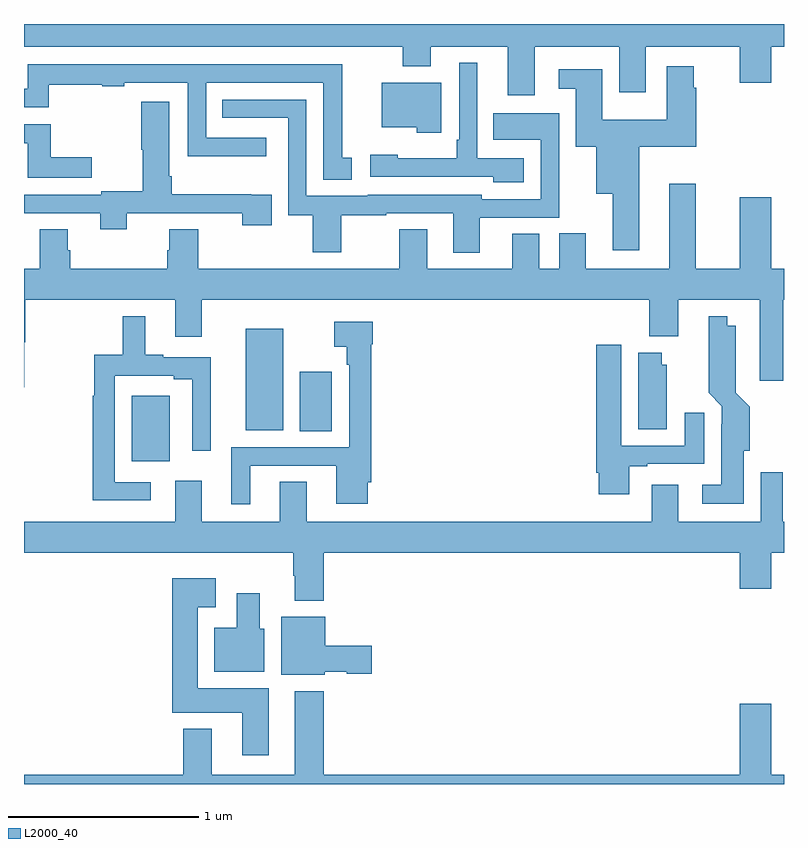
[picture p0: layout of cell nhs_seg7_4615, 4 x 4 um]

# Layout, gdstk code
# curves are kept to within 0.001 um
import gdstk
lib = gdstk.Library(unit=1e-6, precision=1e-09)
def R(c, l, rs):  # rectangles x0, y0, x1, y1
    for r in rs: c.add(gdstk.rectangle(r[:2], r[2:], *l))
def P(c, l, *ps):  # polygons
    for p in ps: c.add(gdstk.Polygon(p, *l))
L2000_40 = (2000, 40)

nhs_seg7_4615 = lib.new_cell('nhs_seg7_4615')
R(nhs_seg7_4615, L2000_40, [(401.567,1067.699,401.767,1068.043), (402.452,1067.857,402.619,1068.169), (402.167,1067.861,402.364,1068.397)])
P(nhs_seg7_4615, L2000_40, [(403.687,1069.88),(404.132,1069.88),(404.132,1069.641),(404.272,1069.641),(404.272,1069.88),(404.768,1069.88),(404.768,1069.692),(404.932,1069.692),(404.932,1069.88),(405,1069.88),(405,1070),(401,1070),(401,1069.88),(402.994,1069.88),(402.994,1069.778),(403.141,1069.778),(403.141,1069.88),(403.547,1069.88),(403.547,1069.626),(403.687,1069.626)],
  [(403.63,1069.293),(403.386,1069.293),(403.386,1069.795),(403.29,1069.795),(403.29,1069.39),(403.278,1069.39),(403.278,1069.294),(402.966,1069.294),(402.966,1069.312),(402.822,1069.312),(402.822,1069.197),(403.469,1069.197),(403.469,1069.166),(403.63,1069.166)],
  [(402.724,1069.297),(402.674,1069.297),(402.674,1069.788),(401.019,1069.788),(401.019,1069.659),(401,1069.659),(401,1069.563),(401.131,1069.563),(401.131,1069.68),(401.412,1069.68),(401.412,1069.672),(401.528,1069.672),(401.528,1069.692),(401.862,1069.692),(401.862,1069.304),(402.274,1069.304),(402.274,1069.401),(401.958,1069.401),(401.958,1069.692),(402.576,1069.692),(402.576,1069.18),(402.724,1069.18)],
  [(404.239,1069.355),(404.537,1069.355),(404.537,1069.664),(404.524,1069.664),(404.524,1069.777),(404.384,1069.777),(404.384,1069.495),(404.044,1069.495),(404.044,1069.762),(403.815,1069.762),(403.815,1069.658),(403.904,1069.658),(403.904,1069.355),(404.012,1069.355),(404.012,1069.106),(404.099,1069.106),(404.099,1068.81),(404.239,1068.81)],
  [(403.195,1069.69),(402.884,1069.69),(402.884,1069.457),(403.066,1069.457),(403.066,1069.427),(403.195,1069.427)],
  [(403.399,1068.981),(403.817,1068.981),(403.817,1069.531),(403.471,1069.531),(403.471,1069.391),(403.719,1069.391),(403.719,1069.077),(403.41,1069.077),(403.41,1069.101),(402.81,1069.101),(402.81,1069.095),(402.486,1069.095),(402.486,1069.602),(402.043,1069.602),(402.043,1069.506),(402.39,1069.506),(402.39,1068.994),(402.521,1068.994),(402.521,1068.798),(402.669,1068.798),(402.669,1068.994),(402.906,1068.994),(402.906,1069.005),(403.259,1069.005),(403.259,1068.797),(403.399,1068.797)],
  [(401.542,1069.005),(402.149,1069.005),(402.149,1068.942),(402.305,1068.942),(402.305,1069.101),(402.197,1069.101),(402.197,1069.103),(401.777,1069.103),(401.777,1069.198),(401.764,1069.198),(401.764,1069.591),(401.617,1069.591),(401.617,1069.338),(401.624,1069.338),(401.624,1069.121),(401.406,1069.121),(401.406,1069.101),(401,1069.101),(401,1069.005),(401.402,1069.005),(401.402,1068.92),(401.542,1068.92)],
  [(401.356,1069.3),(401.14,1069.3),(401.14,1069.473),(401,1069.473),(401,1069.372),(401.019,1069.372),(401.019,1069.191),(401.356,1069.191)],
  [(401.795,1068.354),(401.935,1068.354),(401.935,1068.548),(404.291,1068.548),(404.291,1068.356),(404.443,1068.356),(404.443,1068.548),(404.873,1068.548),(404.873,1068.123),(404.996,1068.123),(404.996,1068.548),(405,1068.548),(405,1068.712),(404.932,1068.712),(404.932,1069.087),(404.768,1069.087),(404.768,1068.712),(404.536,1068.712),(404.536,1069.159),(404.396,1069.159),(404.396,1068.712),(403.957,1068.712),(403.957,1068.9),(403.818,1068.9),(403.818,1068.712),(403.711,1068.712),(403.711,1068.896),(403.571,1068.896),(403.571,1068.712),(403.123,1068.712),(403.123,1068.919),(402.976,1068.919),(402.976,1068.712),(401.918,1068.712),(401.918,1068.92),(401.765,1068.92),(401.765,1068.81),(401.753,1068.81),(401.753,1068.712),(401.243,1068.712),(401.243,1068.81),(401.23,1068.81),(401.23,1068.92),(401.083,1068.92),(401.083,1068.712),(401,1068.712),(401,1068.087),(401.001,1068.087),(401.001,1068.326),(401.006,1068.326),(401.006,1068.548),(401.795,1068.548)],
  [(404.788,1067.754),(404.819,1067.754),(404.819,1067.986),(404.747,1068.058),(404.746,1068.412),(404.701,1068.412),(404.701,1068.463),(404.604,1068.463),(404.603,1068.058),(404.673,1067.988),(404.673,1067.894),(404.669,1067.894),(404.669,1067.575),(404.571,1067.575),(404.571,1067.474),(404.788,1067.474)],
  [(401.668,1067.589),(401.478,1067.589),(401.478,1068.15),(401.789,1068.15),(401.789,1068.13),(401.886,1068.13),(401.886,1067.754),(401.984,1067.754),(401.984,1068.246),(401.734,1068.246),(401.734,1068.259),(401.638,1068.259),(401.638,1068.463),(401.521,1068.463),(401.521,1068.259),(401.37,1068.259),(401.37,1068.043),(401.362,1068.043),(401.362,1067.493),(401.668,1067.493)],
  [(402.19,1067.676),(402.644,1067.676),(402.644,1067.475),(402.808,1067.475),(402.808,1067.587),(402.827,1067.587),(402.827,1068.315),(402.835,1068.315),(402.835,1068.433),(402.632,1068.433),(402.632,1068.302),(402.699,1068.302),(402.699,1068.206),(402.711,1068.206),(402.711,1067.772),(402.092,1067.772),(402.092,1067.472),(402.19,1067.472)],
  [(404.185,1067.673),(404.281,1067.673),(404.281,1067.685),(404.581,1067.685),(404.581,1067.953),(404.477,1067.953),(404.477,1067.781),(404.143,1067.781),(404.143,1068.313),(404.012,1068.313),(404.012,1067.638),(404.024,1067.638),(404.024,1067.526),(404.185,1067.526)],
  [(404.383,1068.207),(404.356,1068.207),(404.356,1068.271),(404.234,1068.271),(404.234,1067.866),(404.383,1067.866)],
  [(402.578,1067.216),(404.768,1067.216),(404.768,1067.028),(404.932,1067.028),(404.932,1067.216),(405,1067.216),(405,1067.38),(404.993,1067.38),(404.993,1067.641),(404.877,1067.641),(404.877,1067.38),(404.443,1067.38),(404.443,1067.575),(404.303,1067.575),(404.303,1067.38),(402.487,1067.38),(402.487,1067.591),(402.347,1067.591),(402.347,1067.38),(401.935,1067.38),(401.935,1067.596),(401.795,1067.596),(401.795,1067.38),(401,1067.38),(401,1067.216),(402.418,1067.216),(402.418,1067.096),(402.425,1067.096),(402.425,1066.964),(402.578,1066.964)],
  [(402.289,1066.504),(401.914,1066.504),(401.914,1066.931),(402.01,1066.931),(402.01,1067.083),(401.78,1067.083),(401.78,1066.376),(402.149,1066.376),(402.149,1066.152),(402.289,1066.152)],
  [(402.265,1066.818),(402.241,1066.818),(402.241,1067.005),(402.119,1067.005),(402.119,1066.822),(402.002,1066.822),(402.002,1066.592),(402.265,1066.592)],
  [(402.582,1066.592),(402.699,1066.592),(402.699,1066.58),(402.829,1066.58),(402.829,1066.727),(402.586,1066.727),(402.586,1066.879),(402.353,1066.879),(402.353,1066.574),(402.582,1066.574)],
  [(405,1066.048),(404.932,1066.048),(404.932,1066.423),(404.768,1066.423),(404.768,1066.048),(402.578,1066.048),(402.578,1066.489),(402.425,1066.489),(402.425,1066.048),(401.989,1066.048),(401.989,1066.291),(401.837,1066.291),(401.837,1066.048),(401,1066.048),(401,1066),(405,1066)])

lib.write_gds('nhs_seg7_4615.gds')
